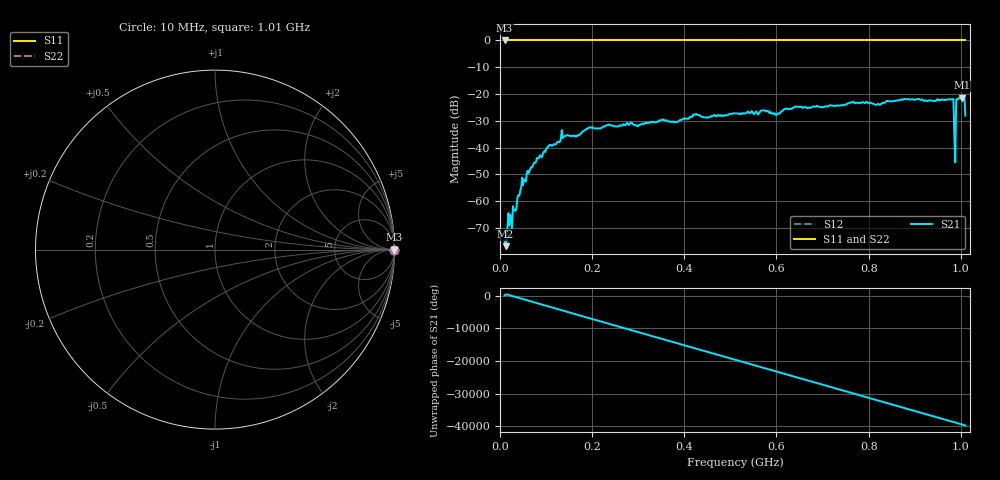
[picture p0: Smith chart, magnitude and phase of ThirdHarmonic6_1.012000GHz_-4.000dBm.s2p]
! 8/16/2025 8:20:38 AM
! C:\ANRITSUVNA\TEMP\TEMP.S2P
! CHANNEL.1
! TR.MEASUREMENT
! RAW.DATA
! RF.CORRECTION.OFF
! AVERAGING.OFF
! IF.BANDWIDTH: 5KHZ
! SWEEPTYPE:  FREQ.SWEEP(Linear)
! Reference Plane Port Info
! PORT:  PORT1  PORT2
! DISTANCE:  0  m  0  m
! TIME:  0  s  0  s
! PHASE.OFFSET:  0  deg.  0  deg.
! LOSS:  0  dB  0  dB
! REF.LOSS:  0  dB  0  dB
! REF.FREQ:  0  Hz  0  Hz
! Power Info
! POWER:  -20  dBm  -20  dBm
! EFF.POWER:  -20  dBm  -20  dBm
! SOURCE.ATTEN:  0  dB  0  dB
! TEST.ATTEN:  0  dB  0  dB
# GHZ S RI R 50.0
! FREQ.GHZ  S11RE  S11IM  S21RE  S21IM  S12RE  S12IM  S22RE  S22IM
!; PortSelection: Port_12
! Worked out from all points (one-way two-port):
!   501 points, 10 MHz to 1.01 GHz, reference 50 ohm
!   highest |S21| = -21.37 dB at 1.002 GHz (marker M1); lowest = -76.7 dB at 12 MHz (marker M2)
!   lowest |S11| = 0.0 dB at 10 MHz (marker M3)
!   |S11| at or under -10 dB: nowhere
!   |S22| runs from 0.0 to 0.0 dB; largest |S21 - S12| = 1.1
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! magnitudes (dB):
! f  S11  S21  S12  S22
! 10 MHz  0.0  -74.7  0.0  0.0
! 12 MHz  0.0  -76.7  0.0  0.0
! 20 MHz  0.0  -69.0  0.0  0.0
! 30 MHz  0.0  -63.2  0.0  0.0
! 48 MHz  0.0  -51.1  0.0  0.0
! 78 MHz  0.0  -45.4  0.0  0.0
! 138 MHz  0.0  -36.0  0.0  0.0
! 178 MHz  0.0  -34.2  0.0  0.0
! 196 MHz  0.0  -32.5  0.0  0.0
! 344 MHz  0.0  -30.3  0.0  0.0
! 510 MHz  0.0  -27.2  0.0  0.0
! 572 MHz  0.0  -26.1  0.0  0.0
! 602 MHz  0.0  -27.3  0.0  0.0
! 642 MHz  0.0  -24.6  0.0  0.0
! 678 MHz  0.0  -24.8  0.0  0.0
! 844 MHz  0.0  -22.7  0.0  0.0
! 980 MHz  0.0  -22.0  0.0  0.0
! 984 MHz  0.0  -21.9  0.0  0.0
! 990 MHz  0.0  -22.0  0.0  0.0
! 994 MHz  0.0  -21.9  0.0  0.0
! 1.002 GHz  0.0  -21.4  0.0  0.0
! 1.01 GHz  0.0  -28.1  0.0  0.0
